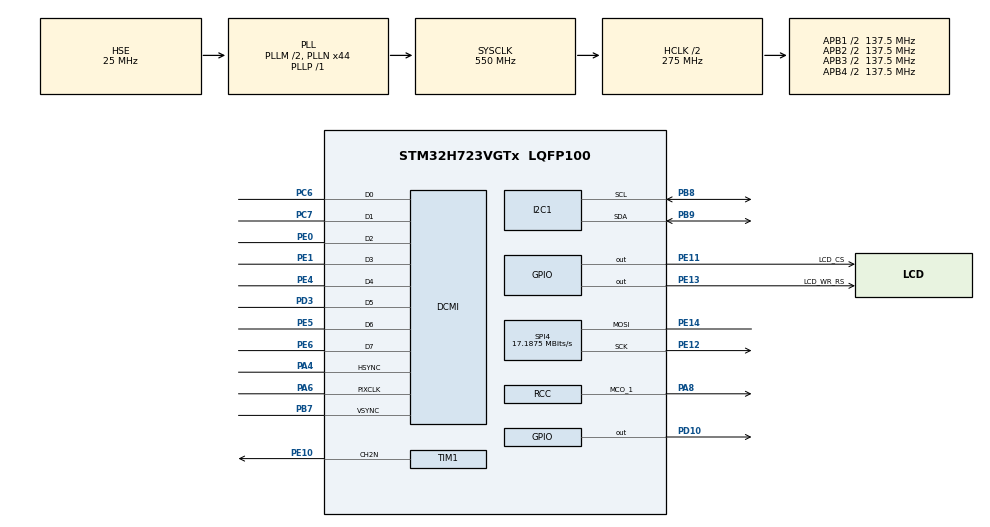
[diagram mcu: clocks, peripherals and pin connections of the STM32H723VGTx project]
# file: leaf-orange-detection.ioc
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CORTEX_M7.CPU_DCache=Enabled
CORTEX_M7.CPU_ICache=Enabled
CORTEX_M7.MPU_Control=__NULL
DCMI.CaptureRate=DCMI_CR_ALL_FRAME
DCMI.PCKPolarity=DCMI_PCKPOLARITY_RISING
Dma.DCMI.0.Direction=DMA_PERIPH_TO_MEMORY
Dma.DCMI.0.EventEnable=DISABLE
Dma.DCMI.0.FIFOMode=DMA_FIFOMODE_DISABLE
Dma.DCMI.0.Instance=DMA1_Stream0
Dma.DCMI.0.MemDataAlignment=DMA_MDATAALIGN_WORD
Dma.DCMI.0.MemInc=DMA_MINC_ENABLE
Dma.DCMI.0.Mode=DMA_CIRCULAR
Dma.DCMI.0.PeriphDataAlignment=DMA_PDATAALIGN_WORD
Dma.DCMI.0.PeriphInc=DMA_PINC_DISABLE
Dma.DCMI.0.Polarity=HAL_DMAMUX_REQ_GEN_RISING
Dma.DCMI.0.Priority=DMA_PRIORITY_MEDIUM
Dma.DCMI.0.RequestNumber=1
Dma.DCMI.0.SignalID=NONE
Dma.DCMI.0.SyncEnable=DISABLE
Dma.DCMI.0.SyncPolarity=HAL_DMAMUX_SYNC_NO_EVENT
Dma.DCMI.0.SyncRequestNumber=1
Dma.DCMI.0.SyncSignalID=NONE
Dma.Request0=DCMI
I2C1.Timing=0x60404E72
Mcu.Family=STM32H7
Mcu.Name=STM32H723VGTx
Mcu.Package=LQFP100
NVIC.DCMI_PSSI_IRQn=true\:0\:0\:false\:false\:true\:true\:true\:true
NVIC.DMA1_Stream0_IRQn=true\:0\:0\:false\:false\:true\:false\:true\:true
NVIC.PriorityGroup=NVIC_PRIORITYGROUP_4
PA13(JTMS/SWDIO).Mode=Serial_Wire
PA13(JTMS/SWDIO).Signal=DEBUG_JTMS-SWDIO
PA14(JTCK/SWCLK).Mode=Serial_Wire
PA14(JTCK/SWCLK).Signal=DEBUG_JTCK-SWCLK
PA4.Mode=Slave_8_bits_External_Synchro
PA4.Signal=DCMI_HSYNC
PA6.Mode=Slave_8_bits_External_Synchro
PA6.Signal=DCMI_PIXCLK
PA8.Mode=Clock-out-1
PA8.Signal=RCC_MCO_1
PB7.Mode=Slave_8_bits_External_Synchro
PB7.Signal=DCMI_VSYNC
PB8.Mode=I2C
PB8.Signal=I2C1_SCL
PB9.Mode=I2C
PB9.Signal=I2C1_SDA
PC14-OSC32_IN.Mode=LSE-External-Oscillator
PC14-OSC32_IN.Signal=RCC_OSC32_IN
PC15-OSC32_OUT.Mode=LSE-External-Oscillator
PC15-OSC32_OUT.Signal=RCC_OSC32_OUT
PC6.Mode=Slave_8_bits_External_Synchro
PC6.Signal=DCMI_D0
PC7.Mode=Slave_8_bits_External_Synchro
PC7.Signal=DCMI_D1
PD10.Signal=GPIO_Output
PD3.Mode=Slave_8_bits_External_Synchro
PD3.Signal=DCMI_D5
PE0.Mode=Slave_8_bits_External_Synchro
PE0.Signal=DCMI_D2
PE1.Mode=Slave_8_bits_External_Synchro
PE1.Signal=DCMI_D3
PE10.Mode=PWM Generation2 CH2N
PE10.Signal=TIM1_CH2N
PE11.GPIO_Label=LCD_CS
PE11.GPIO_Speed=GPIO_SPEED_FREQ_MEDIUM
PE11.Signal=GPIO_Output
PE12.GPIO_Speed=GPIO_SPEED_FREQ_MEDIUM
PE12.Mode=Simplex_Bidirectional_Master
PE12.Signal=SPI4_SCK
PE13.GPIO_Label=LCD_WR_RS
PE13.GPIO_Speed=GPIO_SPEED_FREQ_MEDIUM
PE13.Signal=GPIO_Output
PE14.GPIO_Speed=GPIO_SPEED_FREQ_MEDIUM
PE14.Mode=Simplex_Bidirectional_Master
PE14.Signal=SPI4_MOSI
PE4.Mode=Slave_8_bits_External_Synchro
PE4.Signal=DCMI_D4
PE5.Mode=Slave_8_bits_External_Synchro
PE5.Signal=DCMI_D6
PE6.Mode=Slave_8_bits_External_Synchro
PE6.Signal=DCMI_D7
PH0-OSC_IN.Mode=HSE-External-Oscillator
PH0-OSC_IN.Signal=RCC_OSC_IN
PH1-OSC_OUT.Mode=HSE-External-Oscillator
PH1-OSC_OUT.Signal=RCC_OSC_OUT
ProjectManager.HeapSize=0x800
ProjectManager.StackSize=0x800
ProjectManager.TargetToolchain=STM32CubeIDE
RCC.ADCFreq_Value=50390625
RCC.APB1Freq_Value=137500000
RCC.APB2Freq_Value=137500000
RCC.APB3Freq_Value=137500000
RCC.APB4Freq_Value=137500000
RCC.CortexFreq_Value=550000000
RCC.D1PPRE=RCC_APB3_DIV2
RCC.D2PPRE1=RCC_APB1_DIV2
RCC.D2PPRE2=RCC_APB2_DIV2
RCC.D3PPRE=RCC_APB4_DIV2
RCC.DIVM1=2
RCC.DIVN1=44
RCC.DIVP1=1
RCC.DIVQ1=46
RCC.HCLKFreq_Value=275000000
RCC.HPRE=RCC_HCLK_DIV2
RCC.PLLFRACN=0
RCC.PLLSourceVirtual=RCC_PLLSOURCE_HSE
RCC.RCC_MCO1Source=RCC_MCO1SOURCE_HSI48
RCC.RCC_MCODiv1=RCC_MCODIV_4
RCC.RTCClockSelection=RCC_RTCCLKSOURCE_LSE
RCC.SYSCLKFreq_VALUE=550000000
RCC.SYSCLKSource=RCC_SYSCLKSOURCE_PLLCLK
RCC.USBFreq_Value=11956521.739130436
SPI4.BaudRatePrescaler=SPI_BAUDRATEPRESCALER_8
SPI4.CalculateBaudRate=17.1875 MBits/s
SPI4.DataSize=SPI_DATASIZE_8BIT
SPI4.Direction=SPI_DIRECTION_1LINE
SPI4.Mode=SPI_MODE_MASTER
SPI4.VirtualType=VM_MASTER
STMicroelectronics.X-CUBE-AI.10.2.0.ActivationBufferSizeList=161272
STMicroelectronics.X-CUBE-AI.10.2.0.ActivationBuffers=pool0
STMicroelectronics.X-CUBE-AI.10.2.0.ActivationNames=pool0
STMicroelectronics.X-CUBE-AI.10.2.0.ActivationSizes=AI_NETWORK_DATA_ACTIVATION_1_SIZE
STMicroelectronics.X-CUBE-AI.10.2.0.HeapSize=0x800
STMicroelectronics.X-CUBE-AI.10.2.0.InternalRamActivationBufferMaxSize=AI_NETWORK_DATA_ACTIVATIONS_SIZE
STMicroelectronics.X-CUBE-AI.10.2.0.LatestDirectoryUsed-ec5311291cbeaf3870e33499a8cdb3a9fcf9224409b97c28c8e80ac654456f52=/home/vitordasilvadias/Downloads
STMicroelectronics.X-CUBE-AI.10.2.0.MaximumNumberOfInputLayer=1
STMicroelectronics.X-CUBE-AI.10.2.0.MaximumNumberOfOutputLayer=1
STMicroelectronics.X-CUBE-AI.10.2.0.MaximumSizeOfInputLayer=1
STMicroelectronics.X-CUBE-AI.10.2.0.MaximumSizeOfOutputLayer=1
STMicroelectronics.X-CUBE-AI.10.2.0.ModelActualCompression-ec5311291cbeaf3870e33499a8cdb3a9fcf9224409b97c28c8e80ac654456f52=0.0
STMicroelectronics.X-CUBE-AI.10.2.0.ModelCompression-ec5311291cbeaf3870e33499a8cdb3a9fcf9224409b97c28c8e80ac654456f52=None
STMicroelectronics.X-CUBE-AI.10.2.0.ModelFlashOccupation-ec5311291cbeaf3870e33499a8cdb3a9fcf9224409b97c28c8e80ac654456f52=600608
STMicroelectronics.X-CUBE-AI.10.2.0.ModelHashList=ec5311291cbeaf3870e33499a8cdb3a9fcf9224409b97c28c8e80ac654456f52
STMicroelectronics.X-CUBE-AI.10.2.0.ModelKind-ec5311291cbeaf3870e33499a8cdb3a9fcf9224409b97c28c8e80ac654456f52=TFLITE
STMicroelectronics.X-CUBE-AI.10.2.0.ModelMacc-ec5311291cbeaf3870e33499a8cdb3a9fcf9224409b97c28c8e80ac654456f52=10880794
STMicroelectronics.X-CUBE-AI.10.2.0.ModelName-ec5311291cbeaf3870e33499a8cdb3a9fcf9224409b97c28c8e80ac654456f52=network
STMicroelectronics.X-CUBE-AI.10.2.0.ModelNameList=network
STMicroelectronics.X-CUBE-AI.10.2.0.ModelRamOccupation-ec5311291cbeaf3870e33499a8cdb3a9fcf9224409b97c28c8e80ac654456f52=161272
STMicroelectronics.X-CUBE-AI.10.2.0.ModelStructureFile-ec5311291cbeaf3870e33499a8cdb3a9fcf9224409b97c28c8e80ac654456f52=/home/vitordasilvadias/Downloads/plant_model_int8.tflite
STMicroelectronics.X-CUBE-AI.10.2.0.ModelType-ec5311291cbeaf3870e33499a8cdb3a9fcf9224409b97c28c8e80ac654456f52=STM32Cube.AI MCU runtime
STMicroelectronics.X-CUBE-AI.10.2.0.ReadyForCodeGeneration=true
STMicroelectronics.X-CUBE-AI.10.2.0.StackSize=0x800
STMicroelectronics.X-CUBE-AI.10.2.0.WorkingBufferStartAddrList=0xFFFFFFFF
STMicroelectronics.X-CUBE-AI.10.2.0.XAaCUBEAaAICcArtificialOoIntelligenceJjCore=true
STMicroelectronics.X-CUBE-AI.10.2.0.copyWeightToRam=false
STMicroelectronics.X-CUBE-AI.10.2.0.customLayerConfigEnabled=false
STMicroelectronics.X-CUBE-AI.10.2.0.noOnnxIoTranspose=false
STMicroelectronics.X-CUBE-AI.10.2.0.useInputAllocation=true
STMicroelectronics.X-CUBE-AI.10.2.0.useOutputAllocation=true
TIM1.Channel-PWM\ Generation2\ CH2N=TIM_CHANNEL_2
TIM1.OCNPolarity_2=TIM_OCNPOLARITY_LOW
TIM1.Period=1000-1
TIM1.Prescaler=14-1
VP_MEMORYMAP_VS_MEMORYMAP.Mode=CurAppReg
VP_RTC_VS_RTC_Activate.Mode=RTC_Enabled
VP_RTC_VS_RTC_Calendar.Mode=RTC_Calendar
VP_STMicroelectronics.X-CUBE-AI_VS_ArtificialOoIntelligenceJjXAaCUBEAaAI_10.2.0.Mode=ArtificialOoIntelligenceJjXAaCUBEAaAI
board=custom

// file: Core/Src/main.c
/* USER CODE BEGIN Header */
/**
  ******************************************************************************
  * @file           : main.c
  * @brief          : H723 + OV7725 (DCMI/DMA) + ST7735 + X-CUBE-AI (U8 96x96x3)
  ******************************************************************************
  * Notas:
  * - Buffers do DCMI em SRAM D2 (NON-cache) -> MPU D2 >= 128KB @ 0x3000_0000.
  * - Buffers da IA (activations/in/out) em DTCM (sem cache).
  * - Modelo (network.h): input U8 96x96x3, output U8 com 5 classes.
  ******************************************************************************
  */
/* USER CODE END Header */

#include "main.h"
#include "dcmi.h"
#include "dma.h"
#include "i2c.h"
#include "rtc.h"
#include "spi.h"
#include "tim.h"
#include "gpio.h"

#include <string.h>
#include <stdio.h>

/* USER CODE BEGIN Includes */
#include "board.h"
#include "lcd.h"
#include "camera.h"

/* X-CUBE-AI */
#include "ai_platform.h"
#include "network.h"
#include "network_data.h"
/* USER CODE END Includes */

/* USER CODE BEGIN PD */
#ifdef TFT96
  /* QQVGA (160x120) */
  #define FrameWidth   160
  #define FrameHeight  120
#elif defined(TFT18)
  /* QQVGA2 (128x160) - ST7735 1.8" */
  #define FrameWidth   128
  #define FrameHeight  160
#else
  /* Default para ST7735 1.8" (128x160) */
  #define FrameWidth   128
  #define FrameHeight  160
#endif

#define FRAME_PIXELS    (FrameWidth * FrameHeight)
#define TARGET_FPS      60
#define CAMERA_FPS_MAX  75
#define FRAME_SKIP      (CAMERA_FPS_MAX / TARGET_FPS)
/* USER CODE END PD */

/* USER CODE BEGIN PV */
/* --- DCMI/LCD --- */
/* Buffers de frame em SRAM D2 (NON-cache). Requer .ld com .RAM_D2 mapeado para 0x30000000 */
__attribute__((section(".RAM_D2"))) __attribute__((aligned(32)))
static uint16_t frame_dma[FRAME_PIXELS];  /* destino do DMA do DCMI */
__attribute__((section(".RAM_D2"))) __attribute__((aligned(32)))
static uint16_t frame_lcd[FRAME_PIXELS];  /* cópia estável para o LCD */

volatile uint8_t  frame_ready = 0;
volatile uint32_t DCMI_FrameIsReady = 0;
static   uint32_t Camera_FPS = 0;

/* --- X-CUBE-AI --- */
/* Sua rede é quantizada U8: in/out são U8 conforme network.h */
AI_ALIGNED(4) __attribute__((section(".DtcmRam")))
static ai_u8 ai_in[AI_NETWORK_IN_1_SIZE_BYTES];       /* 96*96*3 = 27648 */
AI_ALIGNED(4) __attribute__((section(".DtcmRam")))
static ai_u8 ai_out[AI_NETWORK_OUT_1_SIZE_BYTES];     /* 5 */
AI_ALIGNED(4) __attribute__((section(".DtcmRam")))
static ai_u8 ai_activations[AI_NETWORK_DATA_ACTIVATIONS_SIZE];

/* Instância da rede e buffers ai_buffer (padrão X-CUBE-AI) */
static ai_handle s_network = AI_HANDLE_NULL;

static ai_buffer s_ai_input[AI_NETWORK_IN_NUM];
static ai_buffer s_ai_output[AI_NETWORK_OUT_NUM];

/* Rótulos das classes (ajuste conforme seu dataset) */
static const char* kClasses[5] = {
  "Canker_Diseases", "Nutrient_Def_Yellow", "Healthy", "Multiple_Diseases", "Young_Healthy"
};
/* USER CODE END PV */

void SystemClock_Config(void);
/* USER CODE BEGIN PFP */
static void MPU_Config(void);
static void CPU_CACHE_Enable(void);

static int  ai_init(void);
static void preprocess_rgb565_to_u8(const uint16_t* src, int src_w, int src_h, ai_u8* dst);
static int  argmax_u8(const ai_u8* v, int n, ai_u8* pmax);
/* USER CODE END PFP */

/* USER CODE BEGIN 0 */

/* Habilita caches (I + D). Deixe D2 NON-cache via MPU para o DMA do DCMI. */
static void CPU_CACHE_Enable(void)
{
  SCB_EnableICache();
  SCB_EnableDCache();
}

/* MPU: mapeia DTCM e D2. MUITO IMPORTANTE: D2 >= 128KB! */
static void MPU_Config(void)
{
  MPU_Region_InitTypeDef MPU_InitStruct = {0};
  HAL_MPU_Disable();

  /* Region 0: DTCM (0x2000_0000) - usar como non-cache */
  MPU_InitStruct.Enable           = MPU_REGION_ENABLE;
  MPU_InitStruct.Number           = MPU_REGION_NUMBER0;
  MPU_InitStruct.BaseAddress      = 0x20000000; /* DTCM base */
  MPU_InitStruct.Size             = MPU_REGION_SIZE_128KB;
  MPU_InitStruct.AccessPermission = MPU_REGION_FULL_ACCESS;
  MPU_InitStruct.IsBufferable     = MPU_ACCESS_NOT_BUFFERABLE;
  MPU_InitStruct.IsCacheable      = MPU_ACCESS_NOT_CACHEABLE;
  MPU_InitStruct.IsShareable      = MPU_ACCESS_SHAREABLE;
  MPU_InitStruct.DisableExec      = MPU_INSTRUCTION_ACCESS_ENABLE;
  MPU_InitStruct.TypeExtField     = MPU_TEX_LEVEL0;
  MPU_InitStruct.SubRegionDisable = 0x00;
  HAL_MPU_ConfigRegion(&MPU_InitStruct);

  /* Region 1: SRAM D2 (0x3000_0000) - NON-cache para DCMI/DMA */
  MPU_InitStruct.Enable           = MPU_REGION_ENABLE;
  MPU_InitStruct.Number           = MPU_REGION_NUMBER1;
  MPU_InitStruct.BaseAddress      = 0x30000000; /* D2 SRAM base */
  MPU_InitStruct.Size             = MPU_REGION_SIZE_128KB; /* >>> PRECISA >= 128KB para 2 frames */
  MPU_InitStruct.AccessPermission = MPU_REGION_FULL_ACCESS;
  MPU_InitStruct.IsBufferable     = MPU_ACCESS_NOT_BUFFERABLE;
  MPU_InitStruct.IsCacheable      = MPU_ACCESS_NOT_CACHEABLE;
  MPU_InitStruct.IsShareable      = MPU_ACCESS_SHAREABLE;
  MPU_InitStruct.DisableExec      = MPU_INSTRUCTION_ACCESS_ENABLE;
  MPU_InitStruct.TypeExtField     = MPU_TEX_LEVEL0;
  MPU_InitStruct.SubRegionDisable = 0x00;
  HAL_MPU_ConfigRegion(&MPU_InitStruct);

  HAL_MPU_Enable(MPU_PRIVILEGED_DEFAULT);
}

/* DCMI -> FPS e sinaliza frame completo */
void HAL_DCMI_FrameEventCallback(DCMI_HandleTypeDef *hdcmi)
{
  static uint32_t tick = 0, frames = 0;
  UNUSED(hdcmi);

  frames++;
  if (HAL_GetTick() - tick >= 1000) {
    tick = HAL_GetTick();
    Camera_FPS = frames;
    frames = 0;
  }
  frame_ready = 1;
}

/* IA: create -> init (weights/activations) -> link I/O */

static int ai_init(void)
{
  __HAL_RCC_CRC_CLK_ENABLE(); /* recomendado em H7 antes de create/init */

  ai_error err = ai_network_create(&s_network, AI_NETWORK_DATA_CONFIG);
  if (err.type != AI_ERROR_NONE) return -1;

  /* use o macro oficial para evitar warning de chaves */
  ai_network_params params = AI_NETWORK_PARAMS_INIT(
      AI_NETWORK_DATA_WEIGHTS(ai_network_data_weights_get()),
      AI_NETWORK_DATA_ACTIVATIONS(ai_activations)
  );

  if (!ai_network_init(s_network, &params)) {
    err = ai_network_get_error(s_network);
    return -2;
  }

  /* >>> AQUI: pegue os descritores da rede e ligue aos seus vetores <<< */
  ai_buffer* in_desc  = ai_network_inputs_get(s_network, NULL);
  ai_buffer* out_desc = ai_network_outputs_get(s_network, NULL);

  /* Clona formato/tamanho/shape para s_ai_input/s_ai_output */
  memcpy(&s_ai_input[0],  &in_desc[0],  sizeof(ai_buffer));
  memcpy(&s_ai_output[0], &out_desc[0], sizeof(ai_buffer));

  /* Agora só troque o ponteiro de dados pelos seus buffers U8 */
  s_ai_input[0].data  = AI_HANDLE_PTR(ai_in);
  s_ai_output[0].data = AI_HANDLE_PTR(ai_out);

  return 0;
}

/* Pré-processa RGB565 128x160 -> U8 96x96x3 intercalado (R,G,B) */
static void preprocess_rgb565_to_u8(const uint16_t* src, int src_w, int src_h, ai_u8* dst)
{
  const int dst_w = AI_NETWORK_IN_1_WIDTH;   /* 96 */
  const int dst_h = AI_NETWORK_IN_1_HEIGHT;  /* 96 */
  const int ch    = AI_NETWORK_IN_1_CHANNEL; /* 3 */

  for (int y = 0; y < dst_h; ++y) {
    int sy = (y * src_h) / dst_h;
    for (int x = 0; x < dst_w; ++x) {
      int sx = (x * src_w) / dst_w;
      uint16_t p = src[sy * src_w + sx];

      uint8_t r5 = (p >> 11) & 0x1F;
      uint8_t g6 = (p >> 5)  & 0x3F;
      uint8_t b5 =  p        & 0x1F;

      uint8_t r = (r5 << 3) | (r5 >> 2);
      uint8_t g = (g6 << 2) | (g6 >> 4);
      uint8_t b = (b5 << 3) | (b5 >> 2);

      if (ch == 3) { *dst++ = r; *dst++ = g; *dst++ = b; }
      else {
        uint8_t gray = (uint8_t)(0.299f*r + 0.587f*g + 0.114f*b);
        *dst++ = gray;
      }
    }
  }
}

/* Argmax para vetor U8 (retorna índice e opcionalmente o valor máximo) */
static int argmax_u8(const ai_u8* v, int n, ai_u8* pmax)
{
  int im = 0; ai_u8 m = v[0];
  for (int i = 1; i < n; ++i) {
    if (v[i] > m) { m = v[i]; im = i; }
  }
  if (pmax) *pmax = m;
  return im;
}
/* USER CODE END 0 */

int main(void)
{
  /* USER CODE BEGIN 1 */
  MPU_Config();
  CPU_CACHE_Enable();
  /* USER CODE END 1 */

  /* MCU Configuration--------------------------------------------------------*/
  HAL_Init();

  /* Configure the system clock */
  SystemClock_Config();

  /* Initialize all configured peripherals */
  MX_GPIO_Init();
  MX_DMA_Init();
  MX_DCMI_Init();
  MX_I2C1_Init();
  MX_RTC_Init();
  MX_SPI4_Init();
  MX_TIM1_Init();

  /* USER CODE BEGIN 2 */
  board_button_init();
  board_led_init();

  /* LCD de teste / splash */
  LCD_Test();

  	uint8_t texto[30];

    sprintf((char *)&texto, "Camera Not Found");
    LCD_ShowString(0, 58, ST7735Ctx.Width, 16, 16, texto);

    #ifdef TFT96
  	Camera_Init_Device(&hi2c1, FRAMESIZE_QQVGA);
  	#elif TFT18
  	Camera_Init_Device(&hi2c1, FRAMESIZE_QQVGA2);
  	#endif
  	//clean Ypos 58
  	ST7735_LCD_Driver.FillRect(&st7735_pObj, 0, 58, ST7735Ctx.Width, 16, BLACK);

    while (HAL_GPIO_ReadPin(KEY_GPIO_Port, KEY_Pin) == GPIO_PIN_RESET)
    {
      sprintf((char *)&texto, "Camera id:0x%x", hcamera.device_id);
      LCD_ShowString(4, 58, ST7735Ctx.Width, 16, 12, texto);

  		HAL_Delay(500);

      sprintf((char *)&texto, "LongPress K1 to Run");
      LCD_ShowString(4, 58, ST7735Ctx.Width, 16, 12, texto);

  		HAL_Delay(500);
    }

    HAL_DCMI_Start_DMA(&hdcmi, DCMI_MODE_CONTINUOUS,
                       (uint32_t)frame_dma,
                       FRAME_PIXELS / 2);
  /* Inicializa IA */
  if (ai_init() != 0) {
    LCD_ShowString(2, 2, ST7735Ctx.Width, 16, 12, (uint8_t*)"AI init error");
  }

  /* Buffer de texto */
  char text[48] = {0};

  /* Controle de Throttle de FPS para IA */
  static uint8_t skip = 0;

  /* USER CODE END 2 */

  /* Infinite loop */
  /* USER CODE BEGIN WHILE */
  while (1)
  {
    if (frame_ready)
    {
      frame_ready = 0;

      /* Throttle opcional: pule frames para manter CPU folgada */
      skip++;
      if (skip < FRAME_SKIP) {
        /* ainda assim atualize a tela com o último frame estável */
        memcpy(frame_lcd, frame_dma, FRAME_PIXELS * 2);
        ST7735_FillRGBRect(&st7735_pObj, 0, 0,
                           (uint8_t*)frame_lcd, ST7735Ctx.Width, ST7735Ctx.Height);
        continue;
      }
      skip = 0;

      /* 1) Copia para frame_lcd (estável) e desenha no display */
      memcpy(frame_lcd, frame_dma, FRAME_PIXELS * 2);
      ST7735_FillRGBRect(&st7735_pObj, 0, 0,
                         (uint8_t*)frame_lcd, ST7735Ctx.Width, ST7735Ctx.Height);

      /* 2) Pré-processa 128x160 -> 96x96x3 U8 */
      preprocess_rgb565_to_u8(frame_lcd, FrameWidth, FrameHeight, ai_in);

      /* 3) Inferência: ai_network_run() com buffers ligados no ai_init() */
      s_ai_input[0].data  = AI_HANDLE_PTR(ai_in);
      s_ai_output[0].data = AI_HANDLE_PTR(ai_out);

      ai_i32 nb = ai_network_run(s_network, s_ai_input, s_ai_output);
      if (nb == 1) {
        /* 4) Top-1 da saída U8 (5 canais) e exibe */
        ai_u8 vmax = 0;
        int cls = argmax_u8(ai_out, AI_NETWORK_OUT_1_SIZE, &vmax);

        /* Se quiser em porcentagem: (vmax*100)/255 */
        snprintf(text, sizeof(text), "%s  %u", kClasses[cls], ((unsigned)vmax/255));
        LCD_ShowString(2, 2, ST7735Ctx.Width, 16, 12, (uint8_t*)text);

        /* Mostra FPS da câmera (do callback) */
        snprintf(text, sizeof(text), "%i",cls);
        LCD_ShowString(2, 18, ST7735Ctx.Width, 16, 12, (uint8_t*)text);

        snprintf(text, sizeof(text), "%lu FPS", Camera_FPS);
        LCD_ShowString(2, 34, ST7735Ctx.Width, 16, 12, (uint8_t*)text);
      }

      board_led_toggle();
    }
  }
  /* USER CODE END WHILE */

}

void SystemClock_Config(void)
{
  /* Mantenha sua configuração existente (gerada pelo Cube) */
  RCC_OscInitTypeDef RCC_OscInitStruct = {0};
  RCC_ClkInitTypeDef RCC_ClkInitStruct = {0};

  HAL_PWREx_ConfigSupply(PWR_LDO_SUPPLY);
  __HAL_PWR_VOLTAGESCALING_CONFIG(PWR_REGULATOR_VOLTAGE_SCALE0);
  while(!__HAL_PWR_GET_FLAG(PWR_FLAG_VOSRDY)) {}

  /* Exemplo com HSE + PLL. Ajuste conforme seu projeto .ioc */
  RCC_OscInitStruct.OscillatorType = RCC_OSCILLATORTYPE_HSE|RCC_OSCILLATORTYPE_LSE|RCC_OSCILLATORTYPE_HSI48;
  RCC_OscInitStruct.HSEState       = RCC_HSE_ON;
  RCC_OscInitStruct.LSEState       = RCC_LSE_ON;
  RCC_OscInitStruct.HSI48State     = RCC_HSI48_ON;
  RCC_OscInitStruct.PLL.PLLState   = RCC_PLL_ON;
  RCC_OscInitStruct.PLL.PLLSource  = RCC_PLLSOURCE_HSE;
  RCC_OscInitStruct.PLL.PLLM       = 2;
  RCC_OscInitStruct.PLL.PLLN       = 44;
  RCC_OscInitStruct.PLL.PLLP       = 1;
  RCC_OscInitStruct.PLL.PLLQ       = 46;
  RCC_OscInitStruct.PLL.PLLR       = 2;
  RCC_OscInitStruct.PLL.PLLRGE     = RCC_PLL1VCIRANGE_3;
  RCC_OscInitStruct.PLL.PLLVCOSEL  = RCC_PLL1VCOWIDE;
  RCC_OscInitStruct.PLL.PLLFRACN   = 0;
  if (HAL_RCC_OscConfig(&RCC_OscInitStruct) != HAL_OK) Error_Handler();

  RCC_ClkInitStruct.ClockType      = RCC_CLOCKTYPE_HCLK|RCC_CLOCKTYPE_SYSCLK
                                   | RCC_CLOCKTYPE_PCLK1|RCC_CLOCKTYPE_PCLK2
                                   | RCC_CLOCKTYPE_D3PCLK1|RCC_CLOCKTYPE_D1PCLK1;
  RCC_ClkInitStruct.SYSCLKSource   = RCC_SYSCLKSOURCE_PLLCLK;
  RCC_ClkInitStruct.SYSCLKDivider  = RCC_SYSCLK_DIV1;
  RCC_ClkInitStruct.AHBCLKDivider  = RCC_HCLK_DIV2;
  RCC_ClkInitStruct.APB3CLKDivider = RCC_APB3_DIV2;
  RCC_ClkInitStruct.APB1CLKDivider = RCC_APB1_DIV2;
  RCC_ClkInitStruct.APB2CLKDivider = RCC_APB2_DIV2;
  RCC_ClkInitStruct.APB4CLKDivider = RCC_APB4_DIV2;

  if (HAL_RCC_ClockConfig(&RCC_ClkInitStruct, FLASH_LATENCY_3) != HAL_OK) Error_Handler();

  /* MCO opcional: HSI48/4 na MCO1 */
  HAL_RCC_MCOConfig(RCC_MCO1, RCC_MCO1SOURCE_HSI48, RCC_MCODIV_4);
}

/* USER CODE BEGIN 4 */
void Error_Handler(void)
{
  __disable_irq();
  while (1) {
    board_led_toggle();
    HAL_Delay(100);
  }
}
/* USER CODE END 4 */
